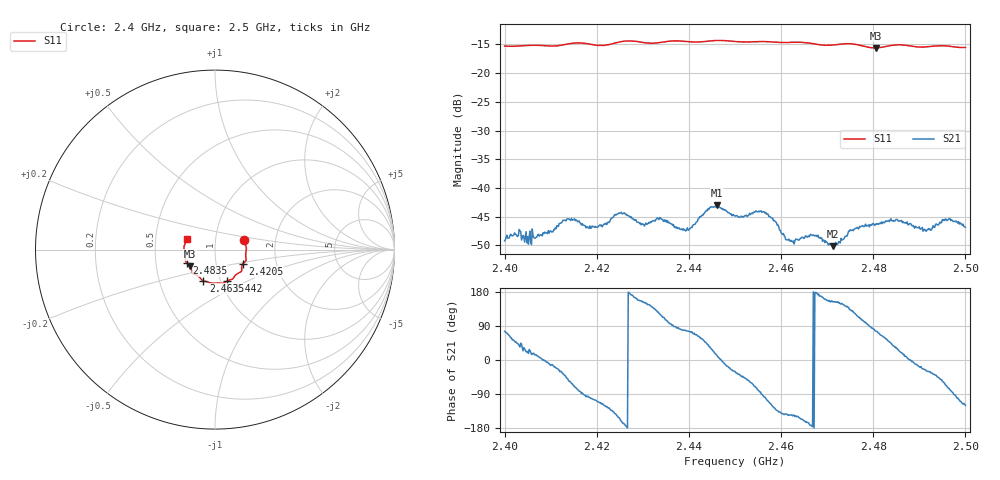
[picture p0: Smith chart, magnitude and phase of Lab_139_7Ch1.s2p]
# Hz S RI R 50
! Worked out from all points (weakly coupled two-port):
!   601 points, 2.4 GHz to 2.5 GHz, reference 50 ohm
!   highest |S21| = -43.00 dB at 2.446 GHz (marker M1); lowest = -50.2 dB at 2.4713 GHz (marker M2)
!   lowest |S11| = -15.6 dB at 2.4805 GHz (marker M3), VSWR 1.40, Z = 37.3 - j7.1 ohm
!   |S11| at or under -10 dB: start of sweep to end of sweep
!   S12 and S22 are empty: the file has one direction only
!   S11 on the Smith chart (normalised r, x): 2.4 GHz: 1.38, +0.15; 2.4205 GHz: 1.35, -0.22; 2.442 GHz: 1.08, -0.39; 2.4635 GHz: 0.83, -0.30; 2.4835 GHz: 0.72, -0.11; 2.5 GHz: 0.72, +0.09
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2.4e9  0.1639 0.0519  0.00086 0.00335  0 0  0 0
2.405333e9  0.1742 0.0129  0.00333 0.00175  0 0  0 0
2.413333e9  0.1723 -0.0449  0.00364 -0.00366  0 0  0 0
2.416667e9  0.1722 -0.0624  0.000113 -0.00475  0 0  0 0
2.4205e9  0.1549 -0.0796  -0.00172 -0.00435  0 0  0 0
2.424833e9  0.1488 -0.1122  -0.00535 -0.00282  0 0  0 0
2.43e9  0.1315 -0.1302  -0.00428 0.00224  0 0  0 0
2.433333e9  0.1092 -0.1479  -0.00321 0.00433  0 0  0 0
2.438833e9  0.0906 -0.1665  0.000858 0.00431  0 0  0 0
2.442e9  0.0692 -0.1736  0.00247 0.00475  0 0  0 0
2.446e9  0.047 -0.1864  0.00689 0.00163  0 0  0 0
2.45e9  0.0264 -0.1868  0.0049 -0.00285  0 0  0 0
2.456167e9  -0.016 -0.1876  -0.000576 -0.00618  0 0  0 0
2.4615e9  -0.0536 -0.177  -0.00292 -0.00196  0 0  0 0
2.4635e9  -0.0655 -0.1741  -0.00306 -0.00183  0 0  0 0
2.466667e9  -0.0777 -0.1642  -0.00386 -0.000436  0 0  0 0
2.471333e9  -0.1068 -0.1398  -0.00277 0.00141  0 0  0 0
2.4805e9  -0.1377 -0.0925  0.0011 0.00464  0 0  0 0
2.483333e9  -0.1556 -0.0748  0.0034 0.00395  0 0  0 0
2.4835e9  -0.1566 -0.0744  0.0034 0.00379  0 0  0 0
2.491333e9  -0.1682 -0.015  0.00383 -0.00187  0 0  0 0
2.5e9  -0.1568 0.0591  -0.00222 -0.00396  0 0  0 0
